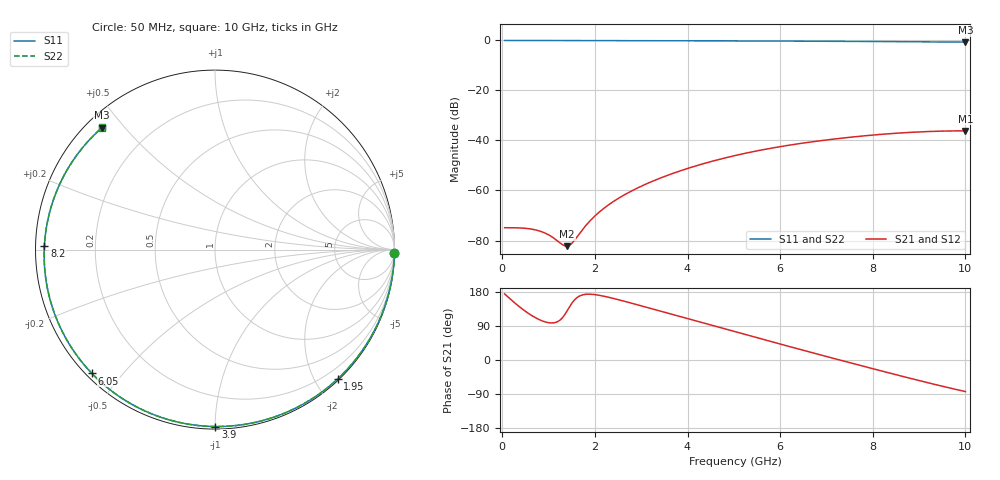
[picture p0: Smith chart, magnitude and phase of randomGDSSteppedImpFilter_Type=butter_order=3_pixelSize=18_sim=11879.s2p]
! freq	dB(S11)	phase(S11)	dB(S12)	phase(S12)
!  dB(S21)	phase(S21)	dB(S22)	phase(S22)
!S-par simulation data
#  GHz  S  DB  R 50
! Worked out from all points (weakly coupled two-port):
!   200 points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, 50 MHz to 10 GHz, reference 50 ohm
!   highest |S21| = -36.15 dB at 10 GHz (marker M1); lowest = -82.3 dB at 1.4 GHz (marker M2)
!   lowest |S11| = -0.7 dB at 10 GHz (marker M3), VSWR 26.15, Z = 2.27 + j21.8 ohm
!   |S11| at or under -10 dB: nowhere
!   |S22| runs from -0.7 to 0.0 dB; largest |S21 - S12| = 0
!   S11 on the Smith chart (normalised r, x): 50 MHz: 0, -94; 1.95 GHz: 0.02, -2.33; 3.9 GHz: 0.01, -1.00; 6.05 GHz: 0.02, -0.42; 8.2 GHz: 0.03, +0.01; 10 GHz: 0.05, +0.44
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0.05  -0.00 -1.2  -74.88 174.3  -74.88 174.3  -0.00 -1.2
0.7  -0.02 -17.0  -75.68 112.7  -75.68 112.7  -0.02 -17.0
0.95  -0.03 -23.0  -77.26 99.7  -77.26 99.7  -0.03 -23.0
1.2  -0.04 -28.9  -80.28 101.5  -80.28 101.5  -0.04 -28.9
1.4  -0.04 -33.6  -82.26 129.7  -82.26 129.7  -0.04 -33.7
1.55  -0.05 -37.2  -80.10 157.5  -80.10 157.5  -0.05 -37.2
1.75  -0.05 -41.8  -75.21 172.3  -75.21 172.3  -0.05 -41.9
1.95  -0.06 -46.5  -71.07 173.2  -71.07 173.2  -0.06 -46.5
2.2  -0.07 -52.2  -67.04 168.2  -67.04 168.2  -0.07 -52.3
2.55  -0.08 -60.2  -62.66 157.8  -62.66 157.8  -0.08 -60.2
2.95  -0.09 -69.2  -58.73 144.6  -58.73 144.6  -0.09 -69.2
3.4  -0.10 -79.1  -55.12 129.5  -55.12 129.5  -0.10 -79.1
3.9  -0.12 -89.9  -51.79 112.6  -51.79 112.6  -0.12 -89.9
4.45  -0.15 -101.6  -48.71 94.1  -48.71 94.1  -0.15 -101.6
5.05  -0.18 -114.1  -45.92 73.9  -45.92 73.9  -0.18 -114.2
6.05  -0.24 -134.8  -42.31 40.4  -42.31 40.4  -0.24 -134.9
6.7  -0.29 -148.4  -40.51 19.0  -40.51 19.0  -0.29 -148.5
7.45  -0.36 -164.5  -38.83 -5.3  -38.83 -5.3  -0.36 -164.6
8.2  -0.44 178.7  -37.52 -29.3  -37.52 -29.3  -0.44 178.5
8.35  -0.46 175.2  -37.30 -34.0  -37.30 -34.0  -0.46 175.0
9.2  -0.56 154.4  -36.42 -60.3  -36.42 -60.3  -0.56 154.2
10  -0.66 132.9  -36.15 -83.4  -36.15 -83.4  -0.67 132.6
